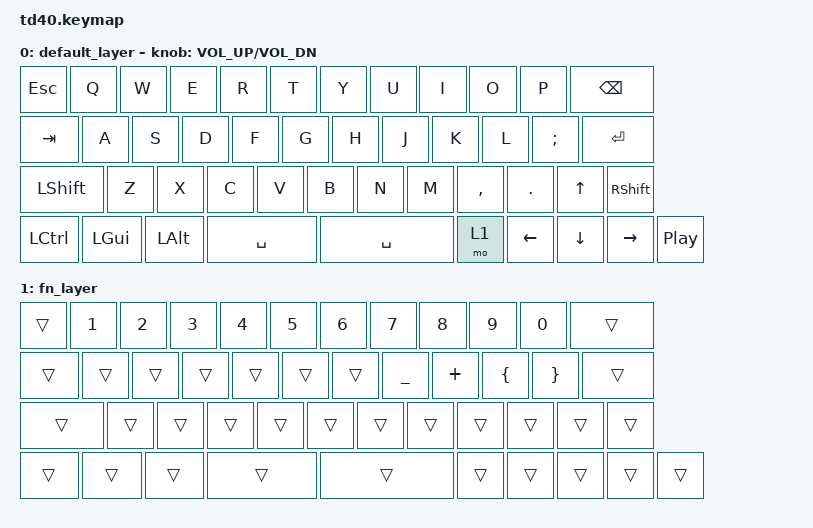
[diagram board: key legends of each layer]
#include <behaviors.dtsi>
#include <dt-bindings/zmk/keys.h>
#include <dt-bindings/zmk/bt.h>
#include <dt-bindings/zmk/ext_power.h>
#include <dt-bindings/zmk/rgb.h>


//  Default Layer (0)
// ┌─────┬─────┬─────┬─────┬─────┬─────┬─────┬─────┬─────┬─────┬─────┬────────┐
// │ ESC │  Q  │  W  │  E  │  R  │  T  │  Y  │  U  │  I  │  O  │  P  │  BSPC  │
// ├──────┬─────┬─────┬─────┬─────┬─────┬─────┬─────┬─────┬─────┬─────┬───────┤
// │ TAB  │  A  │  S  │  D  │  F  │  G  │  H  │  J  │  K  │  L  │  ;  │ ENTER │
// ├────────┬─────┬─────┬─────┬─────┬─────┬─────┬─────┬─────┬─────┬─────┬─────┤
// │ SHIFT  │  Z  │  X  │  C  │  V  │  B  │  N  │  M  │  ,  │  .  │  ↑  │SHIFT│
// ├──────┬──────┬──────┬─────────────┬───────────────┬─────┬─────┬─────┬─────┤
// │ CTL  │ WIN  │ ALT  │    SPACE    │     SPACE     │ Fn  │  ←  │  ↓  │  →  │
// └──────┴──────┴──────┴─────────────┴───────────────┴─────┴─────┴─────┴─────┘


//   Fn Layer (1)
// ┌─────┬─────┬─────┬─────┬─────┬─────┬─────┬─────┬─────┬─────┬─────┬────────┐
// │     │  1  │  2  │  3  │  4  │  5  │  6  │  7  │  8  │  9  │  0  │        │
// ├──────┬─────┬─────┬─────┬─────┬─────┬─────┬─────┬─────┬─────┬─────┬───────┤
// │      │     │     │     │     │     │     │  _  │  +  │  [  │  ]  │       │
// ├────────┬─────┬─────┬─────┬─────┬─────┬─────┬─────┬─────┬─────┬─────┬─────┤
// │        │     │     │     │     │     │     │     │     │     │     │     │
// ├──────┬──────┬──────┬─────────────┬───────────────┬─────┬─────┬─────┬─────┤
// │      │      │      │             │               │     │Home │PgDn │PgUp │
// └──────┴──────┴──────┴─────────────┴───────────────┴─────┴─────┴─────┴─────┘


/ {
	keymap {
		compatible = "zmk,keymap";

		default_layer {
			bindings = <
				&kp ESC     &kp Q     &kp W     &kp E     &kp R     &kp T       &kp Y     &kp U     &kp I     &kp O     &kp P      &kp BSPC
				&kp TAB     &kp A     &kp S     &kp D     &kp F     &kp G       &kp H     &kp J     &kp K     &kp L     &kp SEMI   &kp ENTER
				&kp LSHFT   &kp Z     &kp X     &kp C     &kp V     &kp B       &kp N     &kp M     &kp COMMA &kp DOT   &kp UP     &kp RSHFT
				&kp LCTRL   &kp LGUI  &kp LALT              &kp SPACE         &kp SPACE             &mo 1     &kp LEFT  &kp DOWN   &kp RIGHT  &kp C_PP
			>;
			sensor-bindings = <&inc_dec_kp C_VOL_UP C_VOL_DN>;
		};

		fn_layer {
			bindings = <
				&trans     	&kp N1    &kp N2    &kp N3    &kp N4    &kp N5       &kp N6    &kp N7     &kp N8     &kp N9     &kp N0     &trans
				&trans     	&trans    &trans    &trans    &trans    &trans       &trans    &kp UNDER  &kp PLUS   &kp LBRC   &kp RBRC   &trans
				&trans     	&trans    &trans    &trans    &trans    &trans       &trans    &trans     &trans     &trans     &trans     &trans
				&trans      &trans    &trans                &trans             &trans                 &trans     &trans     &trans     &trans  &trans
			>;
		};
	};
};

